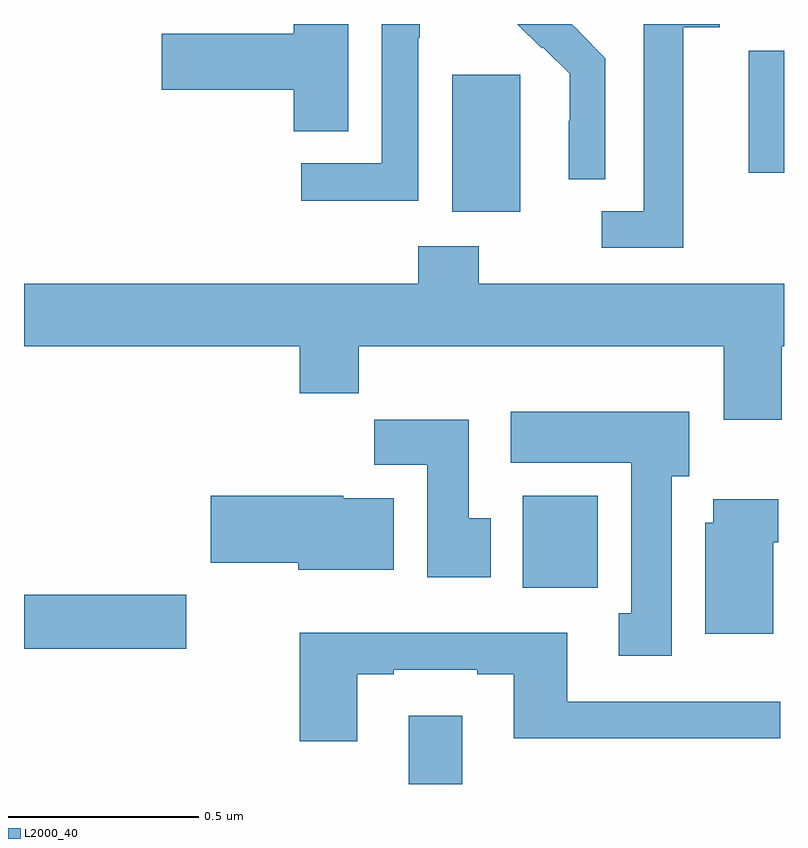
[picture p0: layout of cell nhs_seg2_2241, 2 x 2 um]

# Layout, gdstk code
import gdstk
lib = gdstk.Library(unit=1e-6, precision=1e-09)
def R(c, l, rs):  # rectangles x0, y0, x1, y1
    for r in rs: c.add(gdstk.rectangle(r[:2], r[2:], *l))
def P(c, l, *ps):  # polygons
    for p in ps: c.add(gdstk.Polygon(p, *l))
L2000_40 = (2000, 40)

nhs_seg2_2241 = lib.new_cell('nhs_seg2_2241')
R(nhs_seg2_2241, L2000_40, [(139.013,663.8,139.153,663.979), (138,664.156,138.427,664.298), (139.313,664.316,139.51,664.558), (139.127,665.306,139.306,665.667), (139.907,665.409,140,665.729)])
P(nhs_seg2_2241, L2000_40, [(139.038,665.764),(139.041,665.764),(139.041,665.8),(138.942,665.8),(138.942,665.433),(138.729,665.433),(138.729,665.335),(139.038,665.335)],
  [(139.53,665.71),(139.457,665.783),(139.458,665.784),(139.442,665.8),(139.298,665.8),(139.362,665.736),(139.365,665.739),(139.436,665.669),(139.436,665.546),(139.434,665.546),(139.434,665.392),(139.53,665.392)],
  [(139.735,665.792),(139.831,665.792),(139.831,665.8),(139.631,665.8),(139.631,665.307),(139.521,665.307),(139.521,665.211),(139.735,665.211)],
  [(138.853,665.8),(138.71,665.8),(138.71,665.774),(138.363,665.774),(138.363,665.627),(138.71,665.627),(138.71,665.518),(138.853,665.518)],
  [(139.994,664.952),(140,664.952),(140,665.116),(139.197,665.116),(139.197,665.215),(139.037,665.215),(139.037,665.116),(138,665.116),(138,664.952),(138.725,664.952),(138.725,664.828),(138.881,664.828),(138.881,664.952),(139.841,664.952),(139.841,664.758),(139.994,664.758)],
  [(139.705,664.61),(139.75,664.61),(139.75,664.78),(139.281,664.78),(139.281,664.646),(139.598,664.646),(139.598,664.25),(139.565,664.25),(139.565,664.137),(139.705,664.137)],
  [(139.228,664.5),(139.171,664.5),(139.171,664.759),(138.922,664.759),(138.922,664.64),(139.061,664.64),(139.061,664.344),(139.228,664.344)],
  [(138.973,664.552),(138.84,664.552),(138.84,664.558),(138.492,664.558),(138.492,664.382),(138.722,664.382),(138.722,664.364),(138.973,664.364)],
  [(139.972,664.436),(139.985,664.436),(139.985,664.549),(139.814,664.549),(139.814,664.488),(139.793,664.488),(139.793,664.196),(139.972,664.196)],
  [(138.877,664.089),(138.973,664.089),(138.973,664.101),(139.193,664.101),(139.193,664.089),(139.289,664.089),(139.289,663.92),(139.99,663.92),(139.99,664.017),(139.429,664.017),(139.429,664.198),(138.725,664.198),(138.725,663.912),(138.877,663.912)])

lib.write_gds('nhs_seg2_2241.gds')
